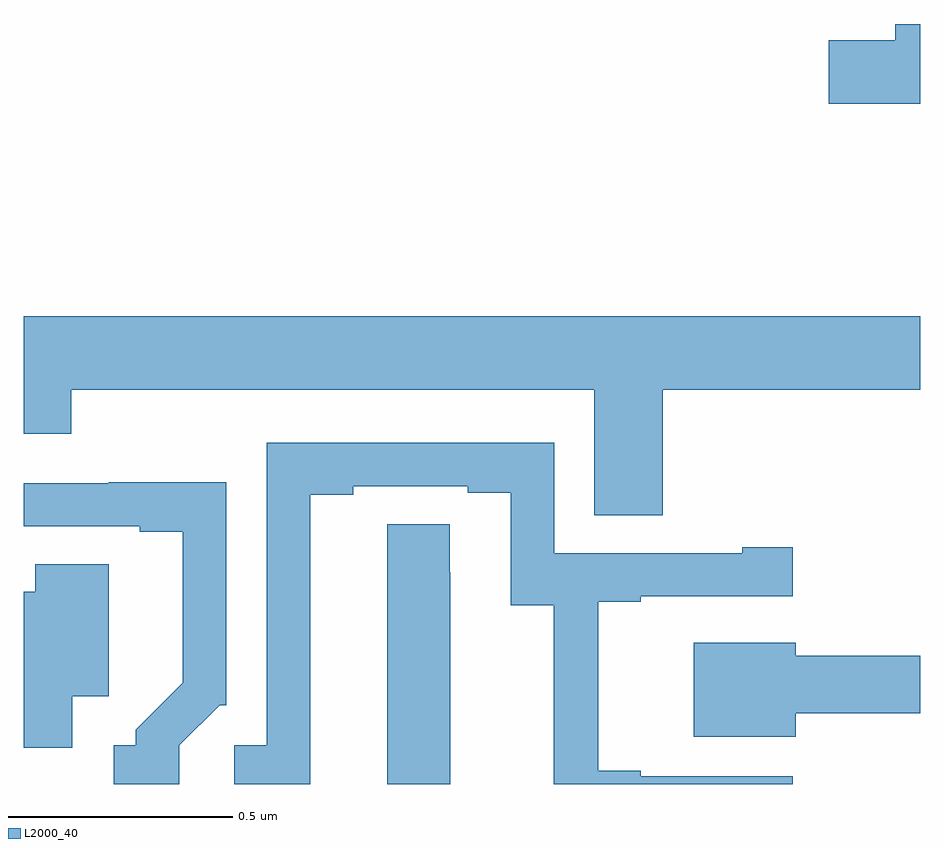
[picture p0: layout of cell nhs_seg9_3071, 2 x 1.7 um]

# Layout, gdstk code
import gdstk
lib = gdstk.Library(unit=1e-6, precision=1e-09)
def P(c, l, *ps):  # polygons
    for p in ps: c.add(gdstk.Polygon(p, *l))
L2000_40 = (2000, 40)

nhs_seg9_3071 = lib.new_cell('nhs_seg9_3071')
P(nhs_seg9_3071, L2000_40, [(150,1237.196),(149.945,1237.196),(149.945,1237.16),(149.796,1237.16),(149.796,1237.018),(150,1237.018)],
  [(149.426,1236.38),(150,1236.38),(150,1236.544),(148,1236.544),(148,1236.282),(148.106,1236.282),(148.106,1236.38),(149.273,1236.38),(149.273,1236.1),(149.426,1236.1)],
  [(148.639,1236.145),(148.735,1236.145),(148.735,1236.165),(148.991,1236.165),(148.991,1236.15),(149.087,1236.15),(149.087,1235.899),(149.182,1235.899),(149.182,1235.5),(149.716,1235.5),(149.716,1235.517),(149.377,1235.517),(149.377,1235.53),(149.282,1235.53),(149.282,1235.907),(149.377,1235.907),(149.377,1235.919),(149.716,1235.919),(149.716,1236.028),(149.603,1236.028),(149.603,1236.015),(149.184,1236.015),(149.184,1236.261),(148.542,1236.261),(148.542,1235.586),(148.47,1235.586),(148.47,1235.5),(148.639,1235.5)],
  [(148.347,1235.586),(148.437,1235.676),(148.452,1235.676),(148.452,1236.173),(148.189,1236.173),(148.189,1236.171),(148,1236.171),(148,1236.075),(148.259,1236.075),(148.259,1236.063),(148.355,1236.063),(148.355,1235.726),(148.25,1235.621),(148.25,1235.586),(148.2,1235.586),(148.2,1235.5),(148.347,1235.5)],
  [(148.951,1235.972),(148.95,1235.972),(148.95,1236.08),(148.811,1236.08),(148.811,1235.5),(148.951,1235.5)],
  [(148.108,1235.696),(148.189,1235.696),(148.189,1235.99),(148.025,1235.99),(148.025,1235.929),(148,1235.929),(148,1235.581),(148.108,1235.581)],
  [(149.722,1235.658),(150,1235.658),(150,1235.786),(149.722,1235.786),(149.722,1235.815),(149.495,1235.815),(149.495,1235.606),(149.722,1235.606)])

lib.write_gds('nhs_seg9_3071.gds')
